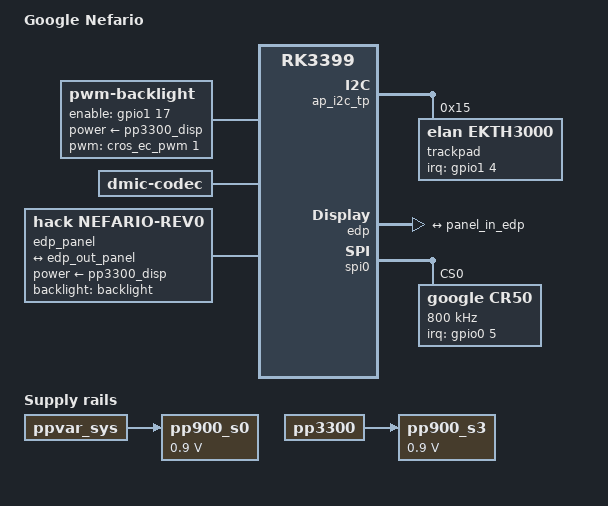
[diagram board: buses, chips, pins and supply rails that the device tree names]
/*
 * Google Gru-Nefario board device tree source
 *
 * Copyright 2017 Google, Inc
 *
 * This file is dual-licensed: you can use it either under the terms
 * of the GPL or the X11 license, at your option. Note that this dual
 * licensing only applies to this file, and not this project as a
 * whole.
 *
 *  a) This file is free software; you can redistribute it and/or
 *     modify it under the terms of the GNU General Public License as
 *     published by the Free Software Foundation; either version 2 of the
 *     License, or (at your option) any later version.
 *
 *     This file is distributed in the hope that it will be useful,
 *     but WITHOUT ANY WARRANTY; without even the implied warranty of
 *     MERCHANTABILITY or FITNESS FOR A PARTICULAR PURPOSE.  See the
 *     GNU General Public License for more details.
 *
 *  Or, alternatively,
 *
 *  b) Permission is hereby granted, free of charge, to any person
 *     obtaining a copy of this software and associated documentation
 *     files (the "Software"), to deal in the Software without
 *     restriction, including without limitation the rights to use,
 *     copy, modify, merge, publish, distribute, sublicense, and/or
 *     sell copies of the Software, and to permit persons to whom the
 *     Software is furnished to do so, subject to the following
 *     conditions:
 *
 *     The above copyright notice and this permission notice shall be
 *     included in all copies or substantial portions of the Software.
 *
 *     THE SOFTWARE IS PROVIDED "AS IS", WITHOUT WARRANTY OF ANY KIND,
 *     EXPRESS OR IMPLIED, INCLUDING BUT NOT LIMITED TO THE WARRANTIES
 *     OF MERCHANTABILITY, FITNESS FOR A PARTICULAR PURPOSE AND
 *     NONINFRINGEMENT. IN NO EVENT SHALL THE AUTHORS OR COPYRIGHT
 *     HOLDERS BE LIABLE FOR ANY CLAIM, DAMAGES OR OTHER LIABILITY,
 *     WHETHER IN AN ACTION OF CONTRACT, TORT OR OTHERWISE, ARISING
 *     FROM, OUT OF OR IN CONNECTION WITH THE SOFTWARE OR THE USE OR
 *     OTHER DEALINGS IN THE SOFTWARE.
 */

/dts-v1/;

#include "rk3399-gru.dtsi"

/ {
	model = "Google Nefario";

	compatible = "google,nefario-rev15", "google,nefario-rev14",
		     "google,nefario-rev13", "google,nefario-rev12",
		     "google,nefario-rev11", "google,nefario-rev10",
		     "google,nefario-rev9", "google,nefario-rev8",
		     "google,nefario-rev7", "google,nefario-rev6",
		     "google,nefario-rev5", "google,nefario-rev4",
		     "google,nefario-rev3", "google,nefario-rev2",
		     "google,nefario-rev1", "google,nefario-rev0",
		     "google,nefario", "google,gru", "rockchip,rk3399";

	/* REGULATORS */

	/* ppvar_sys children, sorted by name */

	pp900_s0: pp900-s0 {
		compatible = "regulator-fixed";
		regulator-name = "pp900_s0";

		/* EC turns on w/ pp900_s0_en; always on for AP */
		regulator-always-on;
		regulator-boot-on;

		regulator-min-microvolt = <900000>;
		regulator-max-microvolt = <900000>;

		vin-supply = <&ppvar_sys>;
	};

	/* pp3300 children, sorted by name */

	pp900_s3: pp900-s3 {
		compatible = "regulator-fixed";
		regulator-name = "pp900_s3";

		/* EC turns on w/ pp900_s3_en; always on for AP */
		regulator-always-on;
		regulator-boot-on;

		regulator-min-microvolt = <900000>;
		regulator-max-microvolt = <900000>;

		vin-supply = <&pp3300>;
	};

	/* MISC */

	backlight: backlight {
		compatible = "pwm-backlight";
		pwms = <&cros_ec_pwm 1>;
		brightness-levels-scale = <0x10000>;
		default-brightness-level = <0x828f>; /* arbitrary, ~51% */
		enable-gpios = <&gpio1 17 GPIO_ACTIVE_HIGH>;
		power-supply = <&pp3300_disp>;
		pinctrl-names = "default";
		pinctrl-0 = <&bl_en>;
		pwm-delay-us = <10000>;
	};

	dmic: dmic {
		compatible = "dmic-codec";
	};

	edp_panel: edp-panel {
		compatible = "hack,nefario-rev0";
		backlight = <&backlight>;
		power-supply = <&pp3300_disp>;

		ports {
			panel_in_edp: endpoint {
				remote-endpoint = <&edp_out_panel>;
			};
		};
	};
};

/* REGULATOR OVERRIDES (node deletions first) */

/* On nefario there's no exact pp900_ap; instead there is pp900_s0 / pp900_s3 */
/delete-node/ &pp900_ap;

/* Nefario doesn't have variable centerlogic; folded into pp900_s0 */
/delete-node/ &ppvar_centerlogic;

/* No more "logic en" pin for turning this on; folded into pp900_s0 */
/delete-node/ &ppvar_logic;

/* pp900_s0 aliases */
pp900_centerlogic: &pp900_s0 {
};
pp900_logic: &pp900_s0 {
};
pp900_pcie: &pp900_s0 {
};
pp900_pll: &pp900_s0 {
};

/* pp900_s3 aliases */
pp900_ddrpll: &pp900_s3 {
};
pp900_pmu: &pp900_s3 {
};
pp900_usb: &pp900_s3 {
};

/* pp1800 children */

&pp1800_pcie {
	/* Module spec suggest 10 ms delay after giving power */
	regulator-enable-ramp-delay = <10000>;
};

/*
 * TODO: for next rev we'll want to remove pp1800_audio and merge
 * with pp1800-s0, I think.  We have no rt5514, so we don't need it.
 */

/* MISC OVERRIDES (node deletions first) */

/* No rt5514 */
/delete-node/ &headsetcodec;

/* Different WiFi */
/delete-node/ &mvl_wifi;

/* No rt5514 */
/delete-node/ &wacky_spi_audio;

/* No module reset on this WiFi */
/delete-node/ &wlan_pd_n;

/* Nothing left here after rt5514 was removed; disable it */
&ap_i2c_mic {
	status = "disabled";
};

&ap_i2c_tp {
	trackpad: trackpad@15 {
		compatible = "elan,ekth3000";
		reg = <0x15>;

		pinctrl-names = "default";
		pinctrl-0 = <&trackpad_int_l>;

		interrupt-parent = <&gpio1>;
		interrupts = <4 IRQ_TYPE_LEVEL_LOW>;

		wakeup-source;
	};
};

/* No touchscreen */
ap_i2c_ts: &i2c3 {
	status = "disabled";
};

/* The center supply is fixed to .9V on nefario */
&dmc {
	center-supply = <&pp900_centerlogic>;
};

/* We don't need .925 V for 928 MHz on nefario */
&dmc_opp_table {
	opp03 {
		opp-microvolt = <900000>;
	};
};

&edp {
	status = "okay";

	ports {
		edp_out: port@1 {
			reg = <1>;
			#address-cells = <1>;
			#size-cells = <0>;

			edp_out_panel: endpoint@0 {
				reg = <0>;
				remote-endpoint = <&panel_in_edp>;
			};
		};
	};
};

&pcie0 {
	/* No module reset on this WiFi, so no hack needed */
	vpcie1v8-supply = <&pp1800_pcie>;
};

/* Nefario doesn't have variable centerlogic; pwm3 is unused */
&pwm3 {
	status = "disabled";
};

&sound {
	rockchip,codec = <&max98357a &dmic &codec &cdn_dp>;
};

&spi0 {
	status = "okay";

	cr50@0 {
		compatible = "google,cr50";

		interrupt-parent = <&gpio0>;
		interrupts = <5 IRQ_TYPE_EDGE_RISING>;

		pinctrl-names = "default";
		pinctrl-0 = <&h1_int_od_l>;

		reg = <0>;
		spi-max-frequency = <800000>;
	};
};

/* Nothing left here after rt5514 was removed; disable it */
&spi2 {
	status = "disabled";
};

/* PINCTRL OVERRIDES (node deletions first) */

/* No module reset on this WiFi */
/delete-node/ &wlan_module_reset_l;

&pinctrl {
	/* Override to remove &wlan_module_reset_l */
	pinctrl-0 = <
		&ap_pwroff	/* AP will auto-assert this when in S3 */
		&clk_32k	/* This pin is always 32k on gru boards */
	>;
};
